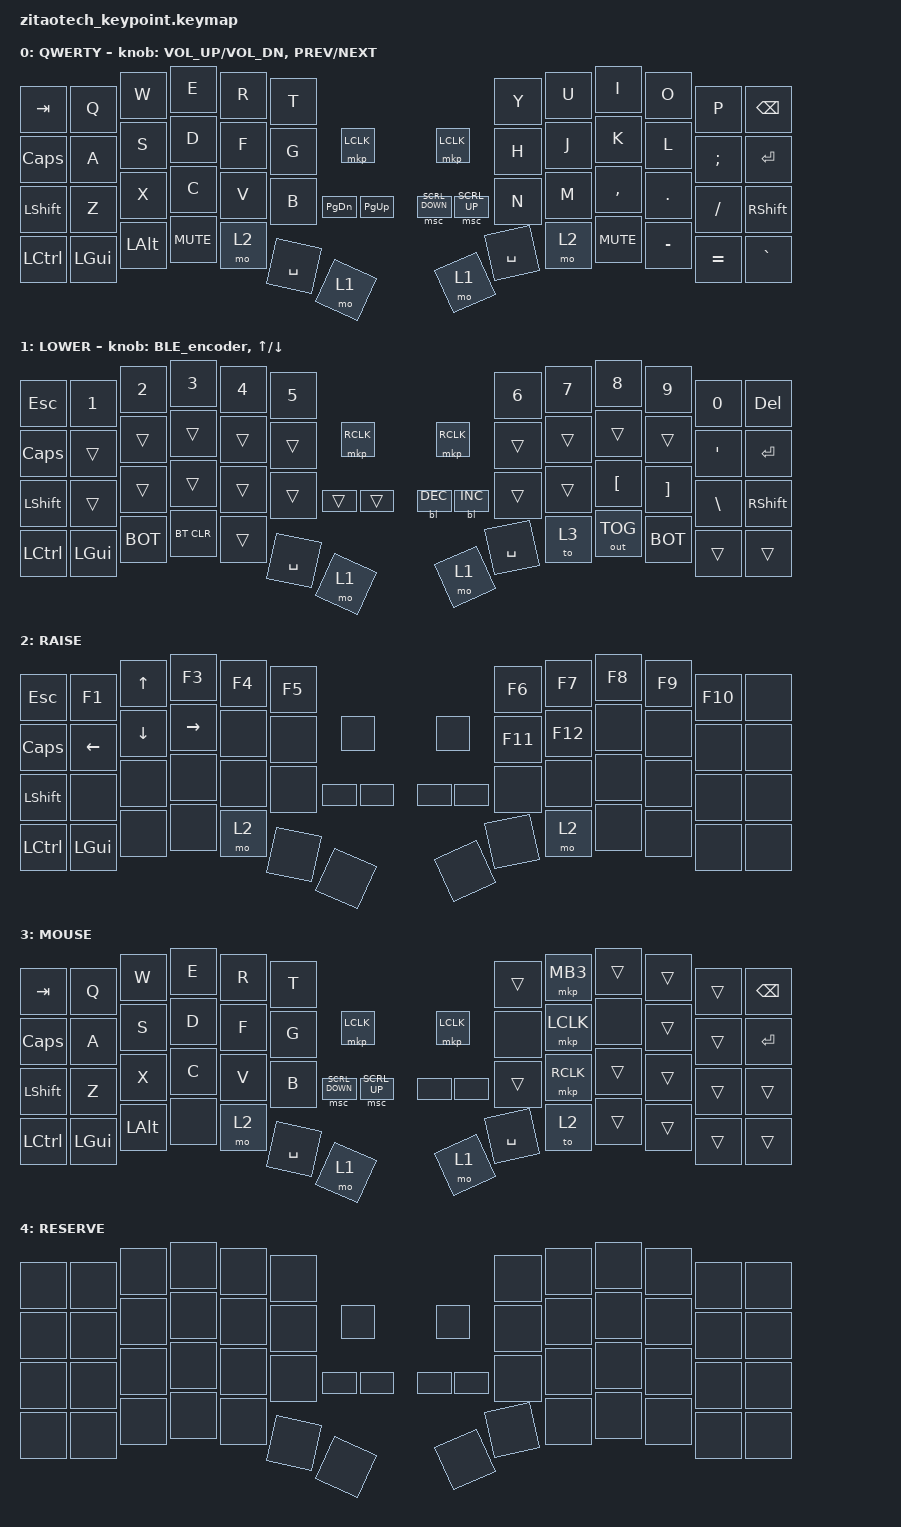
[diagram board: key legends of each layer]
/*
 * Copyright (c) 2025 ZitaoTech
 *
 * SPDX-License-Identifier: MIT
 */

#include <behaviors.dtsi>
#include <dt-bindings/zmk/keys.h>
#include <dt-bindings/zmk/bt.h>
#include <dt-bindings/zmk/outputs.h>
#include <dt-bindings/zmk/mouse.h>
#include <dt-bindings/zmk/backlight.h>
#include <dt-bindings/zmk/ext_power.h>
#include <dt-bindings/zmk/rgb.h>

#define LOWER 1
#define RAISE 2
#define MOUSE 3
#define BOT bootloader

/ {
    behaviors {
        td0: tap_dance_0 {
            compatible = "zmk,behavior-tap-dance";
            #binding-cells = <0>;
            tapping-term-ms = <400>;
            bindings = <&mkp LCLK>, <&bt BT_CLR>;
        };
    };
    behaviors {
        hm: homerow_mods {
            compatible = "zmk,behavior-hold-tap";
            #binding-cells = <2>;
            tapping-term-ms = <500>;
            bindings = <&kp &kp>;
        };
    };

    behaviors {
         sp_sc: behavior_spacescroll {
           compatible = "zmk,behavior-hold-tap";
           #binding-cells = <2>;
           flavor = "tap-preferred";     /* 单击优先 */
           tapping-term-ms = <200>;       /* 长按阈值 */
           bindings = <&none &kp>;        /* hold=none, tap=space */
        };
    };

    behaviors {
        BLE_encoder: BLE_encoder {
            compatible = "zmk,behavior-sensor-rotate";
            #sensor-binding-cells = <0>;
            bindings = <&bt BT_NXT>, <&bt BT_PRV>;
        };
    };

    keymap {
        compatible = "zmk,keymap";

         default_layer {
            display-name = "QWERTY";    
           bindings = <
&kp TAB     &kp Q  &kp W      &kp E      &kp R     &kp T                                                                 &kp Y       &kp U    &kp I      &kp O     &kp P     &kp BSPC
&kp CAPS  &kp A    &kp S      &kp D      &kp F     &kp G     &mkp LCLK                    &mkp LCLK                      &kp H       &kp J    &kp K      &kp L     &kp SEMI  &kp ENTER
&kp LSHFT &kp Z    &kp X      &kp C      &kp V     &kp B     &kp PG_DN  &kp PG_UP         &msc SCRL_DOWN  &msc SCRL_UP   &kp N       &kp M    &kp COMMA  &kp DOT   &kp FSLH  &kp RSHFT
&kp LCTRL &kp LGUI &kp LALT   &kp C_MUTE &mo 2     &kp SPACE &mo 1                                        &mo 1          &kp SPACE   &mo 2    &kp C_MUTE &kp MINUS &kp EQUAL &kp GRAVE
           >;
           sensor-bindings = <&inc_dec_kp C_VOL_UP C_VOL_DN &inc_dec_kp C_PREV C_NEXT>;
        };


        lower_layer {
            display-name = "LOWER";
            bindings = <
&kp ESC   &kp N1    &kp N2     &kp N3       &kp N4   &kp N5                                                               &kp N6    &kp N7   &kp N8       &kp N9    &kp N0     &kp DEL
&kp CAPS  &trans    &trans     &trans       &trans   &trans           &mkp RCLK                    &mkp RCLK              &trans    &trans   &trans       &trans    &kp SQT    &kp ENTER
&kp LSHFT &trans    &trans     &trans       &trans   &trans           &trans     &trans            &bl BL_DEC  &bl BL_INC &trans    &trans   &kp LBKT     &kp RBKT  &kp BSLH   &kp RSHFT
&kp LCTRL &kp LGUI  &BOT       &bt BT_CLR   &trans   &kp SPACE        &mo 1                                    &mo 1      &kp SPACE &to 3    &out OUT_TOG &BOT      &trans     &trans
            >;
             sensor-bindings = <&BLE_encoder &inc_dec_kp UP DOWN>;
        };

        raise_layer {
            display-name = "RAISE";
            bindings = <
&kp ESC       &kp F1    &kp UP     &kp F3    &kp F4   &kp F5                                                    &kp F6      &kp F7  &kp F8   &kp F9  &kp F10  &none
&kp CAPS      &kp LEFT  &kp DOWN   &kp RIGHT &none    &none   &none                        &none                &kp F11     &kp F12 &none    &none  &none     &none
&kp LSHFT     &none     &none      &none     &none    &none   &none   &none                &none  &none         &none       &none   &none    &none  &none     &none
&kp LCTRL     &kp LGUI  &none      &none     &mo 2    &none   &none                               &none         &none       &mo 2   &none    &none  &none     &none 
            >;
        };

        MOUSE_layer {
            display-name = "MOUSE";
            bindings = <
&kp TAB   &kp Q     &kp W          &kp E     &kp R     &kp T                                                         &trans      &mkp MB3    &trans  &trans    &trans  &kp BSPC
&kp CAPS  &kp A     &kp S          &kp D     &kp F     &kp G      &mkp LCLK                         &mkp LCLK        &none       &mkp LCLK   &none   &trans    &trans  &kp ENTER
&kp LSHFT &kp Z     &kp X          &kp C     &kp V     &kp B      &msc SCRL_DOWN   &msc SCRL_UP     &none  &none     &trans      &mkp RCLK   &trans  &trans    &trans  &trans
&kp LCTRL &kp LGUI  &kp  LALT      &none     &mo 2     &kp SPACE  &mo 1                                    &mo 1     &kp SPACE   &to 2       &trans   &trans    &trans  &trans
            >;
        };

        RES_layer {
            display-name = "RESERVE";
            bindings = <
&none     &none     &none      &none    &none    &none                                                 &none   &none  &none   &none  &none  &none
&none     &none     &none      &none    &none    &none   &none                        &none            &none   &none  &none   &none  &none  &none
&none     &none     &none      &none    &none    &none   &none   &none                &none  &none     &none   &none  &none   &none  &none  &none
&none     &none     &none      &none    &none    &none   &none                               &none     &none   &none  &none   &none  &none  &none 
            >;
        };

    };
};
